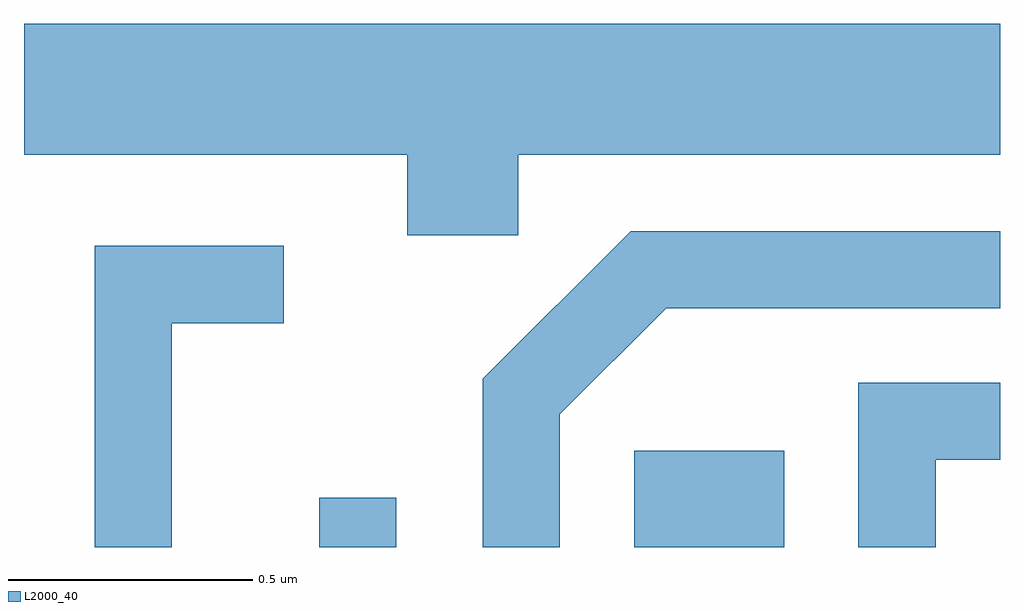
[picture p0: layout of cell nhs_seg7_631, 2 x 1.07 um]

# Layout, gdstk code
import gdstk
lib = gdstk.Library(unit=1e-6, precision=1e-09)
def R(c, l, rs):  # rectangles x0, y0, x1, y1
    for r in rs: c.add(gdstk.rectangle(r[:2], r[2:], *l))
def P(c, l, *ps):  # polygons
    for p in ps: c.add(gdstk.Polygon(p, *l))
L2000_40 = (2000, 40)

nhs_seg7_631 = lib.new_cell('nhs_seg7_631')
R(nhs_seg7_631, L2000_40, [(190.216,1751.252,190.374,1751.353), (190.861,1751.252,191.169,1751.449)])
P(nhs_seg7_631, L2000_40, [(190.624,1752.056),(191.611,1752.056),(191.611,1752.324),(189.611,1752.324),(189.611,1752.056),(190.396,1752.056),(190.396,1751.891),(190.624,1751.891)],
  [(190.709,1751.524),(190.927,1751.741),(191.611,1751.741),(191.611,1751.899),(190.854,1751.899),(190.551,1751.597),(190.551,1751.252),(190.709,1751.252)],
  [(189.914,1751.711),(190.143,1751.711),(190.143,1751.869),(189.756,1751.869),(189.756,1751.252),(189.914,1751.252)],
  [(191.479,1751.431),(191.611,1751.431),(191.611,1751.589),(191.321,1751.589),(191.321,1751.252),(191.479,1751.252)])

lib.write_gds('nhs_seg7_631.gds')
